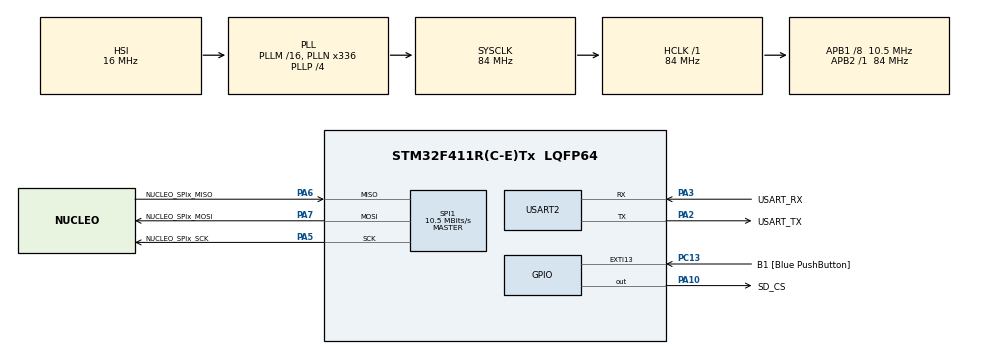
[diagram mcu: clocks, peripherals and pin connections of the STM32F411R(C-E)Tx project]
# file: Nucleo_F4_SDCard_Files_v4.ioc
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Mcu.Family=STM32F4
Mcu.Name=STM32F411R(C-E)Tx
Mcu.Package=LQFP64
NVIC.PriorityGroup=NVIC_PRIORITYGROUP_0
PA10.GPIO_Label=SD_CS
PA10.Signal=GPIO_Output
PA13.GPIO_Label=TMS
PA13.Mode=Serial_Wire
PA13.Signal=SYS_JTMS-SWDIO
PA14.GPIO_Label=TCK
PA14.Mode=Serial_Wire
PA14.Signal=SYS_JTCK-SWCLK
PA2.GPIO_Label=USART_TX
PA2.Mode=Asynchronous
PA2.Signal=USART2_TX
PA3.GPIO_Label=USART_RX
PA3.Mode=Asynchronous
PA3.Signal=USART2_RX
PA5.GPIO_Label=NUCLEO_SPIx_SCK
PA5.Mode=Full_Duplex_Master
PA5.Signal=SPI1_SCK
PA6.GPIO_Label=NUCLEO_SPIx_MISO
PA6.Mode=Full_Duplex_Master
PA6.Signal=SPI1_MISO
PA7.GPIO_Label=NUCLEO_SPIx_MOSI
PA7.Mode=Full_Duplex_Master
PA7.Signal=SPI1_MOSI
PC13-ANTI_TAMP.GPIO_Label=B1 [Blue PushButton]
PC13-ANTI_TAMP.GPIO_ModeDefaultEXTI=GPIO_MODE_IT_FALLING
PC13-ANTI_TAMP.Signal=GPXTI13
PC14-OSC32_IN.Mode=LSE-External-Oscillator
PC14-OSC32_IN.Signal=RCC_OSC32_IN
PC15-OSC32_OUT.Mode=LSE-External-Oscillator
PC15-OSC32_OUT.Signal=RCC_OSC32_OUT
PH0\ -\ OSC_IN.Mode=HSE-External-Clock-Source
PH0\ -\ OSC_IN.Signal=RCC_OSC_IN
PH1\ -\ OSC_OUT.Mode=HSE-External-Clock-Source
PH1\ -\ OSC_OUT.Signal=RCC_OSC_OUT
ProjectManager.HeapSize=0x200
ProjectManager.StackSize=0x400
ProjectManager.TargetToolchain=STM32CubeIDE
RCC.48MHZClocksFreq_Value=84000000
RCC.AHBFreq_Value=84000000
RCC.APB1CLKDivider=RCC_HCLK_DIV8
RCC.APB1Freq_Value=10500000
RCC.APB1TimFreq_Value=21000000
RCC.APB2Freq_Value=84000000
RCC.APB2TimFreq_Value=84000000
RCC.CortexFreq_Value=84000000
RCC.FLatency-AdvancedSettings=FLASH_LATENCY_2
RCC.HCLKFreq_Value=84000000
RCC.HSE_VALUE=8000000
RCC.HSI_VALUE=16000000
RCC.PLLN=336
RCC.PLLP=RCC_PLLP_DIV4
RCC.SYSCLKFreq_VALUE=84000000
RCC.SYSCLKSource=RCC_SYSCLKSOURCE_PLLCLK
RCC.VCOOutputFreq_Value=336000000
SPI1.BaudRatePrescaler=SPI_BAUDRATEPRESCALER_8
SPI1.CalculateBaudRate=10.5 MBits/s
SPI1.Direction=SPI_DIRECTION_2LINES
SPI1.Mode=SPI_MODE_MASTER
SPI1.VirtualType=VM_MASTER
USART2.VirtualMode=VM_ASYNC
board=NUCLEO-F411RE

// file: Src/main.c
/* USER CODE BEGIN Header */
/**

 ******************************************************************************
 * @file           : main.c
 * @brief          : Main program body
 ******************************************************************************
 * @attention
 *
 * <h2><center>&copy; Copyright (c) 2019 STMicroelectronics.
 * All rights reserved.</center></h2>
 *
 * This software component is licensed by ST under BSD 3-Clause license,
 * the "License"; You may not use this file except in compliance with the
 * License. You may obtain a copy of the License at:
 *                        opensource.org/licenses/BSD-3-Clause
 *
 ******************************************************************************
 */
/* USER CODE END Header */
#include "main.h"

/* USER CODE BEGIN Includes */
#include <stdio.h>
#include <stdlib.h>
#include <string.h>
#include <assert.h>
/* USER CODE END Includes */

/* USER CODE BEGIN PTD */
typedef enum {
	SHIELD_NOT_DETECTED = 0,
	SHIELD_DETECTED
}ShieldStatus;

/* Private define ------------------------------------------------------------*/
#define SD_CARD_NOT_FORMATTED                    0
#define SD_CARD_FILE_NOT_SUPPORTED               1
#define SD_CARD_OPEN_FAIL                        2
#define FATFS_NOT_MOUNTED                        3
#define STRING_SZ                              256
#define ITEMS_MAXSZ                            256

/* USER CODE END PTD */

SPI_HandleTypeDef hspi1;

UART_HandleTypeDef huart2;

/* USER CODE BEGIN PV */
/* Private variables ---------------------------------------------------------*/
uint8_t BlinkSpeed = 0, str[20];
__IO uint8_t JoystickValue = 0;
char* pDirectoryFiles[MAX_BMP_FILES];
DIR dir;
FILINFO fno;
FIL MyFile;     /* File object */
FATFS SD_FatFs;  /* File system object for SD card logical drive */
char SD_Path[4]; /* SD card logical drive path */
DIR  items[ITEMS_MAXSZ];   /* array of dir struct */
UINT items_sz=0;

/* USER CODE END PV */

void SystemClock_Config(void);
static void MX_GPIO_Init(void);
static void MX_USART2_UART_Init(void);
static void MX_SPI1_Init(void);
/* USER CODE BEGIN PFP */

FRESULT scan_files (char* path, DIR* items, UINT *items_sz);
FRESULT read_filename(char* path, DIR dir, char* fname);

/* USER CODE END PFP */

/* USER CODE BEGIN 0 */
#define PRINTF

// UART2 is connected to st-link
int _write(int file, char *ptr, int len)
{
	HAL_UART_Transmit(&huart2,(uint8_t *)ptr,len,10);
	return len;
}
/* USER CODE END 0 */

int main(void)
{
	/* USER CODE BEGIN 1 */
	char buffer[STRING_SZ];
	/* USER CODE END 1 */

	/* MCU Configuration--------------------------------------------------------*/

	/* Reset of all peripherals, Initializes the Flash interface and the Systick. */
	HAL_Init();

	/* Configure the system clock */
	SystemClock_Config();

	/* Initialize all configured peripherals */
	MX_GPIO_Init();
	MX_USART2_UART_Init();
	MX_SPI1_Init();
	/* USER CODE BEGIN 2 */

	printf("Start\n");

	//SD_IO_Init();

	BSP_LED_Off(LED2);

	/*##-1- Link the SD disk I/O driver ########################################*/
	if(FATFS_LinkDriver(&SD_Driver, SD_Path) != FR_OK) Error_Handler();

	/*##-2- Register the file system object to the FatFs module ##############*/
	if(f_mount(&SD_FatFs, (TCHAR const*)SD_Path, 0) != FR_OK) Error_Handler();

	/*##-3- Create a FAT file system (format) on the logical drive #########*/
	char path[2]="/";
	scan_files(path, items, &items_sz);
	snprintf(buffer, sizeof(buffer), "==============================================\n");
	HAL_UART_Transmit(&huart2, (uint8_t *)buffer, strlen(buffer), 0xFFFF);

	for (UINT it=0; it<items_sz; it++){
		FRESULT res = read_filename(path, items[it], buffer);
		if (res != FR_OK) continue;
		HAL_UART_Transmit(&huart2, (uint8_t *)buffer, strlen(buffer), 0xFFFF);
	}

	//snprintf(buffer, sizeof(buffer), "==============================================\n");
	//HAL_UART_Transmit(&huart2, (uint8_t *)buffer, strlen(buffer), 0xFFFF);
	printf("==============================================\n");

	/*##-7- Open the text file object with read access ###############*/
	for (UINT it=0; it<items_sz; it++){

		FRESULT res = read_filename(path, items[it], buffer);
		if (res != FR_OK) Error_Handler();

		buffer[strcspn(buffer, "\r\n")] = 0; // works for LF, CR, CRLF, LFCR, ...
		printf("filename : %s\n", buffer);
		if(f_open(&MyFile, buffer, FA_READ) != FR_OK)
		{
			/* file Open for read Error */
			//Error_Handler();
			printf("can't open %s\n ... next one", buffer);
			continue;
		}

		//     DO NOT FORGET TO #define	_USE_STRFUNC	1  in ffconf.h
		while (f_gets(buffer, STRING_SZ, &MyFile) ){
			/* writing content to stdout */
			printf("%s", buffer);
		}
		f_close(&MyFile);

	}
	/*##-11- Unlink the SD disk I/O driver ####################################*/
	FATFS_UnLinkDriver(SD_Path);

	/* USER CODE END 2 */

	/* Infinite loop */
	while (1)
	{

		/* USER CODE BEGIN 3 */
		//		UART_ReadString(buffer);
		//		CMD_Parser(buffer);
	}
	/* USER CODE END 3 */
}

void SystemClock_Config(void)
{
	RCC_OscInitTypeDef RCC_OscInitStruct = {0};
	RCC_ClkInitTypeDef RCC_ClkInitStruct = {0};

	/** Configure the main internal regulator output voltage
	 */
	__HAL_RCC_PWR_CLK_ENABLE();
	__HAL_PWR_VOLTAGESCALING_CONFIG(PWR_REGULATOR_VOLTAGE_SCALE1);
	/** Initializes the RCC Oscillators according to the specified parameters
	 * in the RCC_OscInitTypeDef structure.
	 */
	RCC_OscInitStruct.OscillatorType = RCC_OSCILLATORTYPE_HSI;
	RCC_OscInitStruct.HSIState = RCC_HSI_ON;
	RCC_OscInitStruct.HSICalibrationValue = RCC_HSICALIBRATION_DEFAULT;
	RCC_OscInitStruct.PLL.PLLState = RCC_PLL_ON;
	RCC_OscInitStruct.PLL.PLLSource = RCC_PLLSOURCE_HSI;
	RCC_OscInitStruct.PLL.PLLM = 16;
	RCC_OscInitStruct.PLL.PLLN = 336;
	RCC_OscInitStruct.PLL.PLLP = RCC_PLLP_DIV4;
	RCC_OscInitStruct.PLL.PLLQ = 4;
	if (HAL_RCC_OscConfig(&RCC_OscInitStruct) != HAL_OK)
	{
		Error_Handler();
	}
	/** Initializes the CPU, AHB and APB buses clocks
	 */
	RCC_ClkInitStruct.ClockType = RCC_CLOCKTYPE_HCLK|RCC_CLOCKTYPE_SYSCLK
			|RCC_CLOCKTYPE_PCLK1|RCC_CLOCKTYPE_PCLK2;
	RCC_ClkInitStruct.SYSCLKSource = RCC_SYSCLKSOURCE_PLLCLK;
	RCC_ClkInitStruct.AHBCLKDivider = RCC_SYSCLK_DIV1;
	RCC_ClkInitStruct.APB1CLKDivider = RCC_HCLK_DIV8;
	RCC_ClkInitStruct.APB2CLKDivider = RCC_HCLK_DIV1;

	if (HAL_RCC_ClockConfig(&RCC_ClkInitStruct, FLASH_LATENCY_2) != HAL_OK)
	{
		Error_Handler();
	}
}

static void MX_SPI1_Init(void)
{

	/* SPI1 parameter configuration*/
	hspi1.Instance = SPI1;
	hspi1.Init.Mode = SPI_MODE_MASTER;
	hspi1.Init.Direction = SPI_DIRECTION_2LINES;
	hspi1.Init.DataSize = SPI_DATASIZE_8BIT;
	hspi1.Init.CLKPolarity = SPI_POLARITY_LOW;
	hspi1.Init.CLKPhase = SPI_PHASE_1EDGE;
	hspi1.Init.NSS = SPI_NSS_SOFT;
	hspi1.Init.BaudRatePrescaler = SPI_BAUDRATEPRESCALER_8;
	hspi1.Init.FirstBit = SPI_FIRSTBIT_MSB;
	hspi1.Init.TIMode = SPI_TIMODE_DISABLE;
	hspi1.Init.CRCCalculation = SPI_CRCCALCULATION_DISABLE;
	hspi1.Init.CRCPolynomial = 10;
	if (HAL_SPI_Init(&hspi1) != HAL_OK)
	{
		Error_Handler();
	}

}

static void MX_USART2_UART_Init(void)
{

	huart2.Instance = USART2;
	huart2.Init.BaudRate = 115200;
	huart2.Init.WordLength = UART_WORDLENGTH_8B;
	huart2.Init.StopBits = UART_STOPBITS_1;
	huart2.Init.Parity = UART_PARITY_NONE;
	huart2.Init.Mode = UART_MODE_TX_RX;
	huart2.Init.HwFlowCtl = UART_HWCONTROL_NONE;
	huart2.Init.OverSampling = UART_OVERSAMPLING_16;
	if (HAL_UART_Init(&huart2) != HAL_OK)
	{
		Error_Handler();
	}

}

static void MX_GPIO_Init(void)
{
	GPIO_InitTypeDef GPIO_InitStruct = {0};

	/* GPIO Ports Clock Enable */
	__HAL_RCC_GPIOC_CLK_ENABLE();
	__HAL_RCC_GPIOH_CLK_ENABLE();
	__HAL_RCC_GPIOA_CLK_ENABLE();

	/*Configure GPIO pin Output Level */
	HAL_GPIO_WritePin(SD_CS_GPIO_Port, SD_CS_Pin, GPIO_PIN_RESET);

	/*Configure GPIO pin : B1_Pin */
	GPIO_InitStruct.Pin = B1_Pin;
	GPIO_InitStruct.Mode = GPIO_MODE_IT_FALLING;
	GPIO_InitStruct.Pull = GPIO_NOPULL;
	HAL_GPIO_Init(B1_GPIO_Port, &GPIO_InitStruct);

	/*Configure GPIO pin : SD_CS_Pin */
	GPIO_InitStruct.Pin = SD_CS_Pin;
	GPIO_InitStruct.Mode = GPIO_MODE_OUTPUT_PP;
	GPIO_InitStruct.Pull = GPIO_NOPULL;
	GPIO_InitStruct.Speed = GPIO_SPEED_FREQ_LOW;
	HAL_GPIO_Init(SD_CS_GPIO_Port, &GPIO_InitStruct);

}

/* USER CODE BEGIN 4 */
FRESULT scan_files (char* path, DIR* items, UINT *items_sz)        /* Start node to be scanned (***also used as work area***) */
{
	FRESULT res;
	DIR dir;
	UINT i;
	static FILINFO fno;
	char buffer[STRING_SZ];
	char fname[STRING_SZ];

	res = f_opendir(&dir, path);                       /* Open the directory */
	if (res == FR_OK) {
		for (;;) {
			res = f_readdir(&dir, &fno);                   /* Read a directory item */

			if (res != FR_OK || fno.fname[0] == 0) break;  /* Break on error or end of dir */
//			if (fno.fattrib & AM_DIR) {                    /* It is a directory */
//				i = strlen(path);
//				sprintf(&path[i], "/%s", fno.fname);
//				res = scan_files(path, items, items_sz);     /* Enter the directory */
//				if (res != FR_OK) break;
//				path[i] = 0;
//			} else
			{                                       /* It is a file. */
				snprintf(buffer, sizeof(buffer), "%s/%s\n", path, fno.fname);
				HAL_UART_Transmit(&huart2, (uint8_t *)buffer, strlen(buffer), 0xFFFF);
				if (*items_sz >= ITEMS_MAXSZ) break;

				res = read_filename(path, dir, fname);
				if (res != FR_OK) continue;

				items[(*items_sz)++]=dir;
				//				snprintf(buffer, sizeof(buffer), "DIR.dir pointer %x\n", dir.dir);
				//				HAL_UART_Transmit(&huart2, (uint8_t *)buffer, strlen(buffer), 0xFFFF);
			}
		}
		f_closedir(&dir);
	}

	return res;
}

FRESULT read_filename(char* path, DIR target_dir, char* fname)        /* Start node to be scanned (***also used as work area***) */
{
	FRESULT res;
	DIR dir;
	static FILINFO fno;

	res = f_opendir(&dir, path);                       /* Open the directory */
	if (res == FR_OK) {
		res = f_readdir(&target_dir, &fno);                   /* Read a directory item */

		if (res != FR_OK || fno.fname[0] == 0) {
			fname[0]=0;
			f_closedir(&dir);
			return FR_INT_ERR;  /* Break on error or end of dir */
		}
		if (fno.fattrib & AM_DIR) {
			fname[0]=0;
			f_closedir(&dir);
			return FR_INT_ERR;
		}

		snprintf(fname, STRING_SZ, "%s/%s\n", path, fno.fname);
	}
	f_closedir(&dir);

	return res;
}

/* USER CODE END 4 */

void Error_Handler(void)
{
	/* USER CODE BEGIN Error_Handler_Debug */
	/* User can add his own implementation to report the HAL error return state */

	while (1){ ; }

	/* USER CODE END Error_Handler_Debug */
}

/************************ (C) COPYRIGHT STMicroelectronics *****END OF FILE****/
